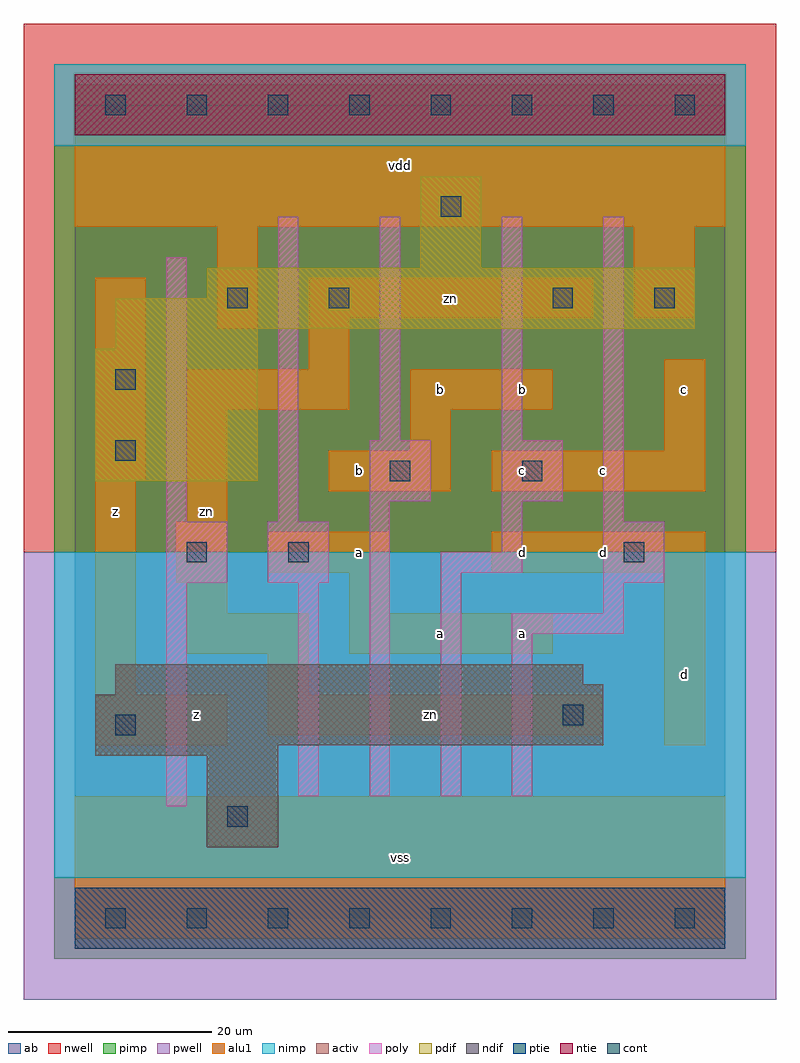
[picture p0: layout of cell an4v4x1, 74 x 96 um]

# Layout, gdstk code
import gdstk
lib = gdstk.Library(unit=1e-6, precision=1e-09)
def R(c, l, rs):  # rectangles x0, y0, x1, y1
    for r in rs: c.add(gdstk.rectangle(r[:2], r[2:], *l))
def A(c, l, x, y, w, h, nx, ny, dx, dy):  # array of equal rectangles
    R(c, l, [(x+i*dx, y+j*dy, x+i*dx+w, y+j*dy+h) for i in range(nx) for j in range(ny)])
ndif = (3, 0)
pdif = (4, 0)
ntie = (5, 0)
ptie = (6, 0)
cont = (25, 0)
pwell = (41, 0)
nwell = (42, 0)
activ = (43, 0)
pimp = (44, 0)
nimp = (45, 0)
poly = (46, 0)
alu1 = (49, 0)
ab = (63, 0)

an4v4x1 = lib.new_cell('an4v4x1')
R(an4v4x1, ndif, [(13,7,20,16), (2,16,20,17), (2,17,52,22), (4,22,52,23), (4,23,50,25)])
R(an4v4x1, pdif, [(2,43,18,56), (4,56,18,58), (4,58,61,61), (13,61,61,64), (34,64,40,73)])
R(an4v4x1, ntie, [(0,77,64,83)])
R(an4v4x1, ptie, [(0,-3,64,3)])
A(an4v4x1, cont, 3, -1, 2, 2, 8, 2, 8, 80)
R(an4v4x1, cont, [(15,9,17,11), (4,18,6,20), (48,19,50,21), (11,35,13,37), (21,35,23,37), (54,35,56,37), (31,43,33,45), (44,43,46,45), (4,45,6,47), (4,52,6,54), (15,60,17,62), (25,60,27,62), (47,60,49,62), (57,60,59,62), (36,69,38,71)])
R(an4v4x1, pwell, [(-5,-8,69,36)])
R(an4v4x1, nwell, [(-5,36,69,88)])
R(an4v4x1, activ, [(0,-3,64,3), (13,7,20,16), (2,16,20,17), (2,17,52,22), (4,22,52,23), (4,23,50,25), (2,43,18,56), (4,56,18,58), (4,58,61,61), (13,61,61,64), (34,64,40,73), (0,77,64,83)])
R(an4v4x1, pimp, [(-2,-4,66,4), (-2,36,66,76)])
R(an4v4x1, nimp, [(-2,4,66,36), (-2,76,66,84)])
R(an4v4x1, poly, [(9,11,11,33), (22,12,24,33), (29,12,31,41), (36,12,38,34), (43,12,45,28), (43,28,54,30), (52,30,54,33), (9,33,15,39), (19,33,25,39), (52,33,58,39), (36,34,44,36), (42,36,44,41), (9,39,11,65), (20,39,22,69), (52,39,54,69), (29,41,35,47), (42,41,48,47), (30,47,32,69), (42,47,44,69)])
R(an4v4x1, alu1, [(0,-2,64,12), (2,17,15,22), (58,17,62,34), (19,18,52,22), (2,22,6,43), (19,22,23,26), (11,26,23,30), (27,26,47,30), (11,30,15,33), (27,30,31,34), (10,33,15,39), (19,34,31,38), (41,34,62,38), (11,39,15,50), (25,42,37,46), (41,42,62,46), (2,43,7,63), (33,46,37,50), (58,46,62,55), (11,50,27,54), (33,50,47,54), (23,54,27,59), (14,58,18,68), (23,59,51,63), (55,59,61,68), (0,68,64,82)])
R(an4v4x1, ab, [(0,0,64,80)])
an4v4x1.add(gdstk.Label('zn', (13,40), layer=49, texttype=0))
an4v4x1.add(gdstk.Label('zn', (35,20), layer=49, texttype=0))
an4v4x1.add(gdstk.Label('zn', (37,61), layer=49, texttype=0))
an4v4x1.add(gdstk.Label('z', (12,20), layer=49, texttype=0))
an4v4x1.add(gdstk.Label('z', (4,40), layer=49, texttype=0))
an4v4x1.add(gdstk.Label('a', (28,36), layer=49, texttype=0))
an4v4x1.add(gdstk.Label('b', (28,44), layer=49, texttype=0))
an4v4x1.add(gdstk.Label('vss', (32,6), layer=49, texttype=0))
an4v4x1.add(gdstk.Label('a', (36,28), layer=49, texttype=0))
an4v4x1.add(gdstk.Label('d', (44,36), layer=49, texttype=0))
an4v4x1.add(gdstk.Label('a', (44,28), layer=49, texttype=0))
an4v4x1.add(gdstk.Label('c', (44,44), layer=49, texttype=0))
an4v4x1.add(gdstk.Label('b', (36,52), layer=49, texttype=0))
an4v4x1.add(gdstk.Label('b', (44,52), layer=49, texttype=0))
an4v4x1.add(gdstk.Label('vdd', (32,74), layer=49, texttype=0))
an4v4x1.add(gdstk.Label('d', (52,36), layer=49, texttype=0))
an4v4x1.add(gdstk.Label('d', (60,24), layer=49, texttype=0))
an4v4x1.add(gdstk.Label('c', (52,44), layer=49, texttype=0))
an4v4x1.add(gdstk.Label('c', (60,52), layer=49, texttype=0))

lib.write_gds('an4v4x1.gds')
